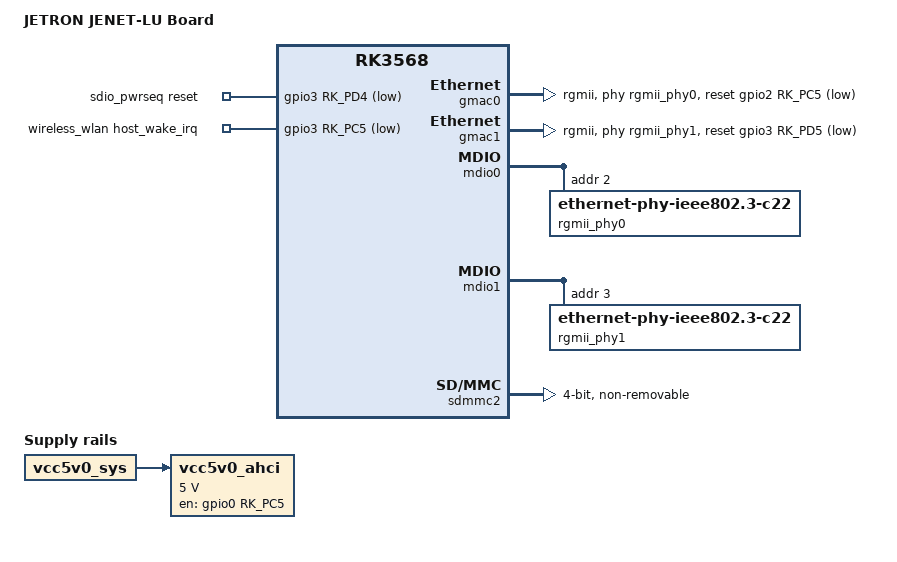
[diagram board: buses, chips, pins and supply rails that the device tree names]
// SPDX-License-Identifier: (GPL-2.0+ OR MIT)
// Copyright (c) 2025 AmadeusGhost <amadeus@jmu.edu.cn>

/dts-v1/;

#include "rk3568-jetron.dtsi"

/ {
	model = "JETRON JENET-LU Board";
	compatible = "jetron,jenet-lu", "rockchip,rk3568";

	aliases {
		ethernet0 = &gmac0;
		ethernet1 = &gmac1;
	};

	vcc5v0_ahci: vcc5v0-ahci {
		compatible = "regulator-fixed";
		enable-active-high;
		gpio = <&gpio0 RK_PC5 GPIO_ACTIVE_HIGH>;
		pinctrl-names = "default";
		pinctrl-0 = <&sata_pwr_en>;
		regulator-always-on;
		regulator-min-microvolt = <5000000>;
		regulator-max-microvolt = <5000000>;
		regulator-name = "vcc5v0_ahci";
		vin-supply = <&vcc5v0_sys>;
	};
	sdio_pwrseq: sdio-pwrseq {
		status = "okay";
		compatible = "mmc-pwrseq-simple";
		clocks = <&rk809 1>;
		clock-names = "ext_clock";
		pinctrl-names = "default";
		pinctrl-0 = <&wifi_enable_h>;
		reset-gpios = <&gpio3 RK_PD4 GPIO_ACTIVE_LOW>;
		post-power-on-delay-ms = <100>;
	};
	wireless_wlan: wireless-wlan {
		compatible = "wlan-platdata";
		rockchip,grf = <&grf>;
		wifi_chip_type = "ap6275s";  
	};
};


&gmac0 {
	phy-mode = "rgmii";
	clock_in_out = "output";

	snps,reset-gpio = <&gpio2 RK_PC5 GPIO_ACTIVE_LOW>;
	snps,reset-active-low;
	snps,reset-delays-us = <0 20000 100000>;

	assigned-clocks = <&cru SCLK_GMAC0_RX_TX>, <&cru SCLK_GMAC0>;
	assigned-clock-parents = <&cru SCLK_GMAC0_RGMII_SPEED>,<&cru CLK_MAC0_2TOP>;
	assigned-clock-rates = <0>, <125000000>;

	pinctrl-names = "default";
	pinctrl-0 = <&gmac0_miim
		     &gmac0_tx_bus2
		     &gmac0_rx_bus2
		     &gmac0_rgmii_clk
		     &gmac0_rgmii_bus>;

        tx_delay = <0x19>;
        rx_delay = <0x10>;

	phy-handle = <&rgmii_phy0>;
	status = "okay";
};

&gmac1 {
	phy-mode = "rgmii";
	clock_in_out = "output";

	snps,reset-gpio = <&gpio3 RK_PD5 GPIO_ACTIVE_LOW>;
	snps,reset-active-low;
	/* Reset time is 50ms, 150ms for yt8511 */
	snps,reset-delays-us = <0 20000 100000>;

	assigned-clocks = <&cru SCLK_GMAC1_RX_TX>, <&cru SCLK_GMAC1>;
	assigned-clock-parents = <&cru SCLK_GMAC1_RGMII_SPEED>,<&cru CLK_MAC1_2TOP>;
	assigned-clock-rates = <0>, <125000000>;

	pinctrl-names = "default";
	pinctrl-0 = <&gmac1m1_miim
		     &gmac1m1_tx_bus2
		     &gmac1m1_rx_bus2
		     &gmac1m1_rgmii_clk
		     &gmac1m1_rgmii_bus>;

	tx_delay = <0x4f>;
	rx_delay = <0x26>;

	phy-handle = <&rgmii_phy1>;
	status = "okay";
};

&mdio0 {
	rgmii_phy0: phy@2{
		compatible = "ethernet-phy-ieee802.3-c22";
		reg = <0x2>;
	};
};

&mdio1 {
	rgmii_phy1: phy@3{
		compatible = "ethernet-phy-ieee802.3-c22";
		reg = <0x3>;
	};
};

&vcc3v3_pcie {
	gpio = <&gpio0 RK_PC4 GPIO_ACTIVE_HIGH>;
};

&pinctrl {
	sata {
		sata_pwr_en: sata-pwr-en {
			rockchip,pins = <0 RK_PC5 RK_FUNC_GPIO &pcfg_pull_none>;
		};
	};
	

	sdio-pwrseq {
		wifi_enable_h: wifi-enable-h {
			rockchip,pins = <3 RK_PD4 RK_FUNC_GPIO &pcfg_pull_none>;
		};
	};
	
	wireless-wlan {
		wifi_host_wake_irq: wifi-host-wake-irq {
			rockchip,pins = <3 RK_PC5 RK_FUNC_GPIO &pcfg_pull_down>;
		};
	};
};

&sata0 {
	target-supply = <&vcc5v0_ahci>;
};

&sdmmc2 {
	max-frequency = <150000000>;
	supports-sdio;
	bus-width = <4>;
	disable-wp;
	cap-sd-highspeed;
	cap-sdio-irq;
	keep-power-in-suspend;
	pinctrl-names = "default";
	pinctrl-0 = <&sdmmc2m0_bus4 &sdmmc2m0_cmd &sdmmc2m0_clk>;
	sd-uhs-sdr104;
	mmc-pwrseq = <&sdio_pwrseq>;
	non-removable;
	status = "okay";
};

&wireless_wlan { 
	status = "okay";
	pinctrl-names = "default";
	pinctrl-0 = <&wifi_host_wake_irq>;
	WIFI,host_wake_irq = <&gpio3 RK_PC5 GPIO_ACTIVE_LOW>;
};
